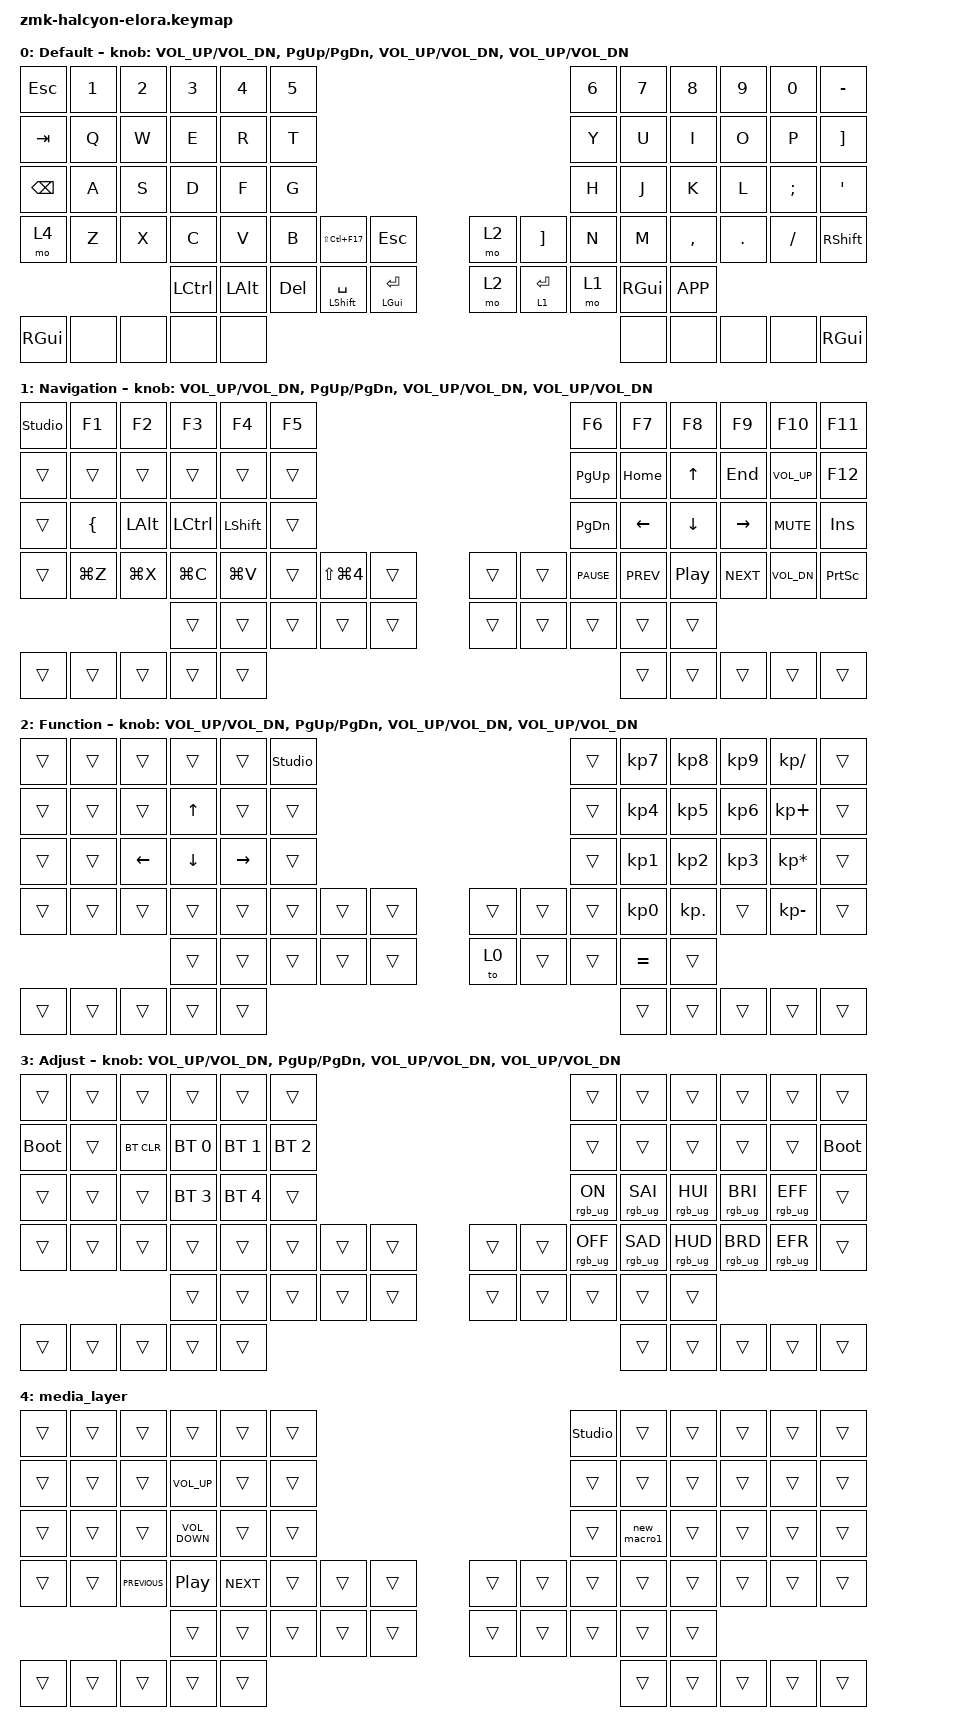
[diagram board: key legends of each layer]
/*
 * Copyright (c) 2023 The ZMK Contributors
 * Copyright (c) 2026 Splitkb.com
 *
 * SPDX-License-Identifier: MIT
 */

#include <behaviors.dtsi>
#include <dt-bindings/zmk/bt.h>
#include <dt-bindings/zmk/keys.h>
#include <dt-bindings/zmk/rgb.h>

#define DEFAULT  0
#define NAV      1
#define SYM      2
#define FUNCTION 3
#define ADJUST   4

/ {
    combos {
        compatible = "zmk,combos";

        palette {
            bindings = <&kp LS(LC(F17))>;
            key-positions = <28 27>;
            layers = <0>;
        };
    };

    macros {
        new_macro1: new_macro1 {
            compatible = "zmk,behavior-macro";
            #binding-cells = <0>;
            bindings = <&none &kp T &kp E &kp S &kp T &kp E &kp N1 &kp N2 &kp N3 &kp N4 &kp N5>;
            label = "NEW_MACRO1";
        };
    };

    keymap {
        compatible = "zmk,keymap";

        qwerty_layer {
            display-name = "Default";

            // ---------------------------------------------------------------------------------------------------------------
            // |  ESC  |  1   |  2  |  3  |  4  |   5   |                               |  6  |  7  |  8  |  9  |  0  | BSPC |
            // |  TAB  |  Q   |  W  |  E  |  R  |   T   |                               |  Y  |  U  |  I  |  O  |  P  | BSPC |
            // |LC(ESC)|  A   |  S  |  D  |  F  |   G   |                               |  H  |  J  |  K  |  L  |  ;  |  '   |
            // |  SHFT |  Z   |  X  |  C  |  V  |   B   | LBKT | CAPS |   | FUNC | RBKT |  N  |  M  |  ,  |  .  |  /  | SHFT |
            //                      | ADJ | GUI |LA(ENT)| SPC  | NAV  |   | SYM  | SPC  | ALT | GUI | APP |

            bindings = <
&kp ESC        &kp N1  &kp N2  &kp N3     &kp N4        &kp N5                                                                 &kp N6  &kp N7    &kp N8     &kp N9   &kp N0    &kp MINUS
&kp TAB        &kp Q   &kp W   &kp E      &kp R         &kp T                                                                  &kp Y   &kp U     &kp I      &kp O    &kp P     &kp RIGHT_BRACKET
&kp BACKSPACE  &kp A   &kp S   &kp D      &kp F         &kp G                                                                  &kp H   &kp J     &kp K      &kp L    &kp SEMI  &kp SINGLE_QUOTE
&mo 4          &kp Z   &kp X   &kp C      &kp V         &kp B    &kp LS(LC(F17))       &kp ESC             &mo 2  &kp RBKT     &kp N   &kp M     &kp COMMA  &kp DOT  &kp FSLH  &kp RSHFT
                               &kp LCTRL  &kp LEFT_ALT  &kp DEL  &mt LEFT_SHIFT SPACE  &mt LEFT_GUI ENTER  &mo 2  &lt 1 ENTER  &mo 1   &kp RGUI  &kp K_APP
&kp RGUI       &none   &none   &none      &none                                                                                        &none     &none      &none    &none     &kp RGUI
            >;

            sensor-bindings =
                <&inc_dec_kp C_VOL_UP C_VOL_DN>,
                <&inc_dec_kp PG_UP PG_DN>,
                <&inc_dec_kp C_VOL_UP C_VOL_DN>,
                <&inc_dec_kp C_VOL_UP C_VOL_DN>;
        };

        // Uncomment one of the following layers, and comment the Qwerty layer, if you want to use Colemak or Dvorak layouts
        // dvorak_layer {
        //     display-name = "Default Layer";
        //     bindings = <
        //     &kp ESC       &kp N1   &kp N2    &kp N3     &kp N4   &kp N5                                                 &kp N6   &kp N7  &kp N8 &kp N9 &kp N0 &kp ESC
        //     &kp TAB       &kp SQT  &kp COMMA &kp DOT    &kp P    &kp Y                                                  &kp F    &kp G    &kp C &kp R &kp L &kp BSPC
        //     &mt LCTRL ESC &kp A    &kp O     &kp E      &kp U    &kp I                                                  &kp D    &kp H    &kp T &kp N &kp S &mt RCTRL SQT
        //     &kp LSHFT     &kp SEMI &kp Q     &kp J      &kp K    &kp X        &kp LBKT  &kp CAPS &mo FUNCTION &kp RBKT  &kp B    &kp M    &kp W &kp V &kp Z &kp RSHFT
        //                                      &mo ADJUST &kp LGUI &mt LALT RET &kp SPACE &mo NAV  &mo SYM      &kp SPACE &kp RALT &kp RGUI &kp K_APP
        //
        //     &kp RGUI &none &none &none &none                                                                                          &none &none &none &none &kp RGUI
        //     >;
        //
        //     sensor-bindings = <&inc_dec_kp C_VOL_UP C_VOL_DN &inc_dec_kp PG_UP PG_DN &inc_dec_kp C_VOL_UP C_VOL_DN &inc_dec_kp PG_UP PG_DN>;
        // };
        // colemak_dh_layer {
        //     display-name = "Default Layer";
        //     bindings = <
        //     &kp ESC       &kp N1 &kp N2 &kp N3   &kp N4   &kp N5                                                 &kp N6   &kp N7   &kp N8    &kp N9  &kp N0   &kp ESC
        //     &kp TAB       &kp Q &kp W &kp F      &kp P    &kp B                                                  &kp J    &kp L    &kp U     &kp Y   &kp SEMI &kp BSPC
        //     &mt LCTRL ESC &kp A &kp R &kp S      &kp T    &kp G                                                  &kp M    &kp N    &kp E     &kp I   &kp O    &mt RCTRL SQT
        //     &kp LSHFT     &kp Z &kp X &kp C      &kp D    &kp V        &kp LBKT  &kp CAPS &mo FUNCTION &kp RBKT  &kp K    &kp H    &kp COMMA &kp DOT &kp FSLH &kp RSHFT
        //                               &mo ADJUST &kp LGUI &mt LALT RET &kp SPACE &mo NAV  &mo SYM      &kp SPACE &kp RALT &kp RGUI &kp K_APP
        //
        //     &kp RGUI &none &none &none &none                                                                                          &none &none &none &none &kp RGUI
        //     >;
        //
        //     sensor-bindings = <&inc_dec_kp C_VOL_UP C_VOL_DN &inc_dec_kp PG_UP PG_DN &inc_dec_kp C_VOL_UP C_VOL_DN &inc_dec_kp PG_UP PG_DN>;
        // };

        navigation_layer {
            display-name = "Navigation";

            // ------------------------------------------------------------------------------------------------------------
            // |     |     |     |     |     |STDIO|                            |       |      |     |     |       |      |
            // |     |     |     |     |     |     |                            | PG_UP | HOME | UP  | END | VOL_UP| DEL  |
            // |     | GUI | ALT | CTL | SHFT|     |                            | PG_DN | LEFT | DOWN| RGT | VOL_DN| INS  |
            // |     |     |     |     |     |     |     | SLCK |   |     |     | PAUSE | PREV | PLAY| NEXT| MUTE  | PSCRN|
            //                   |     |     |     |     |      |   |     |     |       |      |     |

            bindings = <
&studio_unlock  &kp F1          &kp F2     &kp F3     &kp F4     &kp F5                                          &kp F6       &kp F7      &kp F8            &kp F9      &kp F10       &kp F11
&trans          &trans          &trans     &trans     &trans     &trans                                          &kp PG_UP    &kp HOME    &kp UP            &kp END     &kp K_VOL_UP  &kp F12
&trans          &kp LEFT_BRACE  &kp LALT   &kp LCTRL  &kp LSHFT  &trans                                          &kp PG_DN    &kp LEFT    &kp DOWN          &kp RIGHT   &kp K_MUTE    &kp INS
&trans          &kp LG(Z)       &kp LG(X)  &kp LG(C)  &kp LG(V)  &trans  &kp LS(LG(N4))  &trans  &trans  &trans  &kp C_PAUSE  &kp C_PREV  &kp C_PLAY_PAUSE  &kp C_NEXT  &kp K_VOL_DN  &kp PSCRN
                                           &trans     &trans     &trans  &trans          &trans  &trans  &trans  &trans       &trans      &trans
&trans          &trans          &trans     &trans     &trans                                                                  &trans      &trans            &trans      &trans        &trans
            >;

            sensor-bindings =
                <&inc_dec_kp C_VOL_UP C_VOL_DN>,
                <&inc_dec_kp PG_UP PG_DN>,
                <&inc_dec_kp C_VOL_UP C_VOL_DN>,
                <&inc_dec_kp C_VOL_UP C_VOL_DN>;
        };

        numpad_layer {
            display-name = "Function";

            // -----------------------------------------------------------------------------------------------------
            // |     |     |     |     |     |     |                           |     |     |     |     |     |     |
            // |     | F9  | F10 | F11 | F12 |     |                           |     |     |     |     |     |     |
            // |     | F5  | F6  | F7  | F8  |     |                           |     |RSHFT|RCTRL| LALT| RGUI|     |
            // |     | F1  | F2  | F3  | F4  |     |     |     |   |     |     |     |     |     |     |     |     |
            //                   |     |     |     |     |     |   |     |     |     |     |     |

            bindings = <
&trans  &trans  &trans    &trans        &trans     &studio_unlock                                  &trans  &kp KP_NUMBER_7  &kp KP_NUMBER_8  &kp KP_NUMBER_9  &kp KP_DIVIDE    &trans
&trans  &trans  &trans    &kp UP_ARROW  &trans     &trans                                          &trans  &kp KP_NUMBER_4  &kp KP_NUMBER_5  &kp KP_NUMBER_6  &kp KP_PLUS      &trans
&trans  &trans  &kp LEFT  &kp DOWN      &kp RIGHT  &trans                                          &trans  &kp KP_NUMBER_1  &kp KP_NUMBER_2  &kp KP_NUMBER_3  &kp KP_ASTERISK  &trans
&trans  &trans  &trans    &trans        &trans     &trans          &trans  &trans  &trans  &trans  &trans  &kp KP_NUMBER_0  &kp KP_DOT       &trans           &kp KP_MINUS     &trans
                          &trans        &trans     &trans          &trans  &trans  &to 0   &trans  &trans  &kp EQUAL        &trans
&trans  &trans  &trans    &trans        &trans                                                             &trans           &trans           &trans           &trans           &trans
            >;

            sensor-bindings =
                <&inc_dec_kp C_VOL_UP C_VOL_DN>,
                <&inc_dec_kp PG_UP PG_DN>,
                <&inc_dec_kp C_VOL_UP C_VOL_DN>,
                <&inc_dec_kp C_VOL_UP C_VOL_DN>;
        };

        adjust_layer {
            display-name = "Adjust";

            // -----------------------------------------------------------------------------------------------------------------------
            // |     |     |     |     |     |     |                           |       |       |       |       |       |     |
            // | BOOT|     |BTCLR| BT1 | BT2 | BT3 |                           |       |       |       |       |       |BOOT |
            // |     |     |     | BT4 | BT5 |     |                           | RGB_ON|RGB_HUI|RGB_SAI|RGB_BRI|RGB_EFF|     |
            // |     |     |     |     |     |     |     |     |   |     |     |RGB_OFF|RGB_HUD|RGB_SAD|RGB_BRD|RGB_EFR|     |
            //                   |     |     |     |     |     |   |     |     |       |       |       |

            bindings = <
&trans       &trans  &trans      &trans        &trans        &trans                                        &trans           &trans           &trans           &trans           &trans           &trans
&bootloader  &trans  &bt BT_CLR  &bt BT_SEL 0  &bt BT_SEL 1  &bt BT_SEL 2                                  &trans           &trans           &trans           &trans           &trans           &bootloader
&trans       &trans  &trans      &bt BT_SEL 3  &bt BT_SEL 4  &trans                                        &rgb_ug RGB_ON   &rgb_ug RGB_SAI  &rgb_ug RGB_HUI  &rgb_ug RGB_BRI  &rgb_ug RGB_EFF  &trans
&trans       &trans  &trans      &trans        &trans        &trans        &trans  &trans  &trans  &trans  &rgb_ug RGB_OFF  &rgb_ug RGB_SAD  &rgb_ug RGB_HUD  &rgb_ug RGB_BRD  &rgb_ug RGB_EFR  &trans
                                 &trans        &trans        &trans        &trans  &trans  &trans  &trans  &trans           &trans           &trans
&trans       &trans  &trans      &trans        &trans                                                                       &trans           &trans           &trans           &trans           &trans
            >;

            sensor-bindings =
                <&inc_dec_kp C_VOL_UP C_VOL_DN>,
                <&inc_dec_kp PG_UP PG_DN>,
                <&inc_dec_kp C_VOL_UP C_VOL_DN>,
                <&inc_dec_kp C_VOL_UP C_VOL_DN>;
        };

        media_layer {
            bindings = <
&trans  &trans  &trans          &trans             &trans      &trans                                  &studio_unlock  &trans       &trans  &trans  &trans  &trans
&trans  &trans  &trans          &kp C_VOLUME_UP    &trans      &trans                                  &trans          &trans       &trans  &trans  &trans  &trans
&trans  &trans  &trans          &kp C_VOLUME_DOWN  &trans      &trans                                  &trans          &new_macro1  &trans  &trans  &trans  &trans
&trans  &trans  &kp C_PREVIOUS  &kp C_PLAY_PAUSE   &kp C_NEXT  &trans  &trans  &trans  &trans  &trans  &trans          &trans       &trans  &trans  &trans  &trans
                                &trans             &trans      &trans  &trans  &trans  &trans  &trans  &trans          &trans       &trans
&trans  &trans  &trans          &trans             &trans                                                              &trans       &trans  &trans  &trans  &trans
            >;
        };
    };
};
